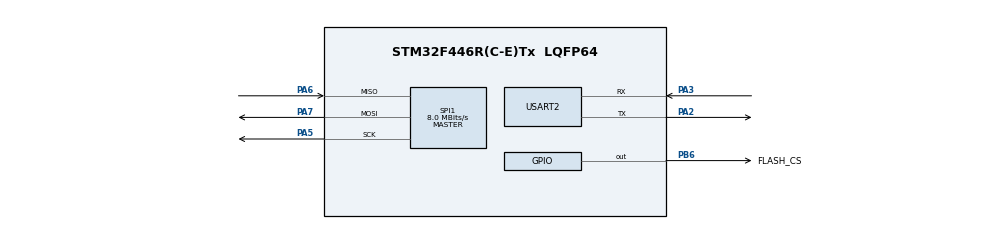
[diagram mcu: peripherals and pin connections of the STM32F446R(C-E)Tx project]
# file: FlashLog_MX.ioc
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FREERTOS.Tasks01=storageTask,24,512,StartStorageTask,Default,NULL,Dynamic,NULL,NULL;commandTask,24,512,StartCommandTask,Default,NULL,Dynamic,NULL,NULL
Mcu.Family=STM32F4
Mcu.Name=STM32F446R(C-E)Tx
Mcu.Package=LQFP64
NVIC.PriorityGroup=NVIC_PRIORITYGROUP_4
NVIC.TIM6_DAC_IRQn=true\:15\:0\:false\:false\:true\:false\:false\:true\:true
NVIC.TimeBase=TIM6_DAC_IRQn
NVIC.TimeBaseIP=TIM6
NVIC.USART2_IRQn=true\:5\:0\:false\:false\:true\:true\:true\:true\:true
PA2.Mode=Asynchronous
PA2.Signal=USART2_TX
PA3.Mode=Asynchronous
PA3.Signal=USART2_RX
PA5.Mode=Full_Duplex_Master
PA5.Signal=SPI1_SCK
PA6.Mode=Full_Duplex_Master
PA6.Signal=SPI1_MISO
PA7.Mode=Full_Duplex_Master
PA7.Signal=SPI1_MOSI
PB6.GPIO_Label=FLASH_CS
PB6.PinState=GPIO_PIN_SET
PB6.Signal=GPIO_Output
ProjectManager.HeapSize=0x200
ProjectManager.StackSize=0x400
ProjectManager.TargetToolchain=STM32CubeIDE
RCC.CortexFreq_Value=16000000
RCC.USBFreq_Value=96000000
RCC.VCOOutputFreq_Value=192000000
SPI1.BaudRatePrescaler=SPI_BAUDRATEPRESCALER_2
SPI1.CalculateBaudRate=8.0 MBits/s
SPI1.Direction=SPI_DIRECTION_2LINES
SPI1.Mode=SPI_MODE_MASTER
SPI1.VirtualType=VM_MASTER
USART2.VirtualMode=VM_ASYNC
VP_FREERTOS_VS_CMSIS_V2.Mode=CMSIS_V2
VP_SYS_VS_tim6.Mode=TIM6
board=NUCLEO-F446RE

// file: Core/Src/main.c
/* USER CODE BEGIN Header */
/**
  ******************************************************************************
  * @file           : main.c
  * @brief          : Main program body
  ******************************************************************************
  * @attention
  *
  * Copyright (c) 2026 STMicroelectronics.
  * All rights reserved.
  *
  * This software is licensed under terms that can be found in the LICENSE file
  * in the root directory of this software component.
  * If no LICENSE file comes with this software, it is provided AS-IS.
  *
  ******************************************************************************
  */
/* USER CODE END Header */
#include "main.h"
#include "cmsis_os.h"

/* USER CODE BEGIN Includes */
#include <stdio.h>
#include "flash.h"
#include "log_uart.h"
#include "storage.h"
#include "cmd.h"
#include "log.h"
#include "perf.h"
#include "wear.h"
/* USER CODE END Includes */

SPI_HandleTypeDef hspi1;

UART_HandleTypeDef huart2;

/* Definitions for storageTask */
osThreadId_t storageTaskHandle;
const osThreadAttr_t storageTask_attributes = {
  .name = "storageTask",
  .stack_size = 512 * 4,
  .priority = (osPriority_t) osPriorityNormal,
};
/* Definitions for commandTask */
osThreadId_t commandTaskHandle;
const osThreadAttr_t commandTask_attributes = {
  .name = "commandTask",
  .stack_size = 512 * 4,
  .priority = (osPriority_t) osPriorityNormal,
};

void SystemClock_Config(void);
static void MX_GPIO_Init(void);
static void MX_USART2_UART_Init(void);
static void MX_SPI1_Init(void);
void StartStorageTask(void *argument);
void StartCommandTask(void *argument);

int main(void)
{

  /* MCU Configuration--------------------------------------------------------*/

  /* Reset of all peripherals, Initializes the Flash interface and the Systick. */
  HAL_Init();

  /* Configure the system clock */
  SystemClock_Config();

  /* Initialize all configured peripherals */
  MX_GPIO_Init();
  MX_USART2_UART_Init();
  MX_SPI1_Init();
  /* USER CODE BEGIN 2 */
  perf_init();
  flash_init(&hspi1);
  wear_init();
  log_init();
  printf("FlashLog boot OK (build %s %s)\r\n", __DATE__, __TIME__);
  /* USER CODE END 2 */

  /* Init scheduler */
  osKernelInitialize();

  /* USER CODE BEGIN RTOS_MUTEX */
  uartMutexHandle = osMutexNew(NULL);
  if (uartMutexHandle == NULL) printf("mutex create FAILED\r\n");
  /* USER CODE END RTOS_MUTEX */

  /* USER CODE BEGIN RTOS_QUEUES */
  storageQueueHandle = osMessageQueueNew(4, sizeof(storage_req_t), NULL);
  if (storageQueueHandle == NULL) printf("queue create FAILED\r\n");
  uartRxQueueHandle = osMessageQueueNew(64, sizeof(uint8_t), NULL);
  if (uartRxQueueHandle == NULL) printf("rx queue FAILED\r\n");
  /* USER CODE END RTOS_QUEUES */

  /* Create the thread(s) */
  /* creation of storageTask */
  storageTaskHandle = osThreadNew(StartStorageTask, NULL, &storageTask_attributes);

  /* creation of commandTask */
  commandTaskHandle = osThreadNew(StartCommandTask, NULL, &commandTask_attributes);

  /* Start scheduler */
  osKernelStart();

  /* We should never get here as control is now taken by the scheduler */

  /* Infinite loop */
  while (1)
  {

    /* USER CODE BEGIN 3 */
	HAL_Delay(1000);                        // 等 1 秒
  }
  /* USER CODE END 3 */
}

void SystemClock_Config(void)
{
  RCC_OscInitTypeDef RCC_OscInitStruct = {0};
  RCC_ClkInitTypeDef RCC_ClkInitStruct = {0};

  /** Configure the main internal regulator output voltage
  */
  __HAL_RCC_PWR_CLK_ENABLE();
  __HAL_PWR_VOLTAGESCALING_CONFIG(PWR_REGULATOR_VOLTAGE_SCALE3);

  /** Initializes the RCC Oscillators according to the specified parameters
  * in the RCC_OscInitTypeDef structure.
  */
  RCC_OscInitStruct.OscillatorType = RCC_OSCILLATORTYPE_HSI;
  RCC_OscInitStruct.HSIState = RCC_HSI_ON;
  RCC_OscInitStruct.HSICalibrationValue = RCC_HSICALIBRATION_DEFAULT;
  RCC_OscInitStruct.PLL.PLLState = RCC_PLL_NONE;
  if (HAL_RCC_OscConfig(&RCC_OscInitStruct) != HAL_OK)
  {
    Error_Handler();
  }

  /** Initializes the CPU, AHB and APB buses clocks
  */
  RCC_ClkInitStruct.ClockType = RCC_CLOCKTYPE_HCLK|RCC_CLOCKTYPE_SYSCLK
                              |RCC_CLOCKTYPE_PCLK1|RCC_CLOCKTYPE_PCLK2;
  RCC_ClkInitStruct.SYSCLKSource = RCC_SYSCLKSOURCE_HSI;
  RCC_ClkInitStruct.AHBCLKDivider = RCC_SYSCLK_DIV1;
  RCC_ClkInitStruct.APB1CLKDivider = RCC_HCLK_DIV1;
  RCC_ClkInitStruct.APB2CLKDivider = RCC_HCLK_DIV1;

  if (HAL_RCC_ClockConfig(&RCC_ClkInitStruct, FLASH_LATENCY_0) != HAL_OK)
  {
    Error_Handler();
  }
}

static void MX_SPI1_Init(void)
{

  /* SPI1 parameter configuration*/
  hspi1.Instance = SPI1;
  hspi1.Init.Mode = SPI_MODE_MASTER;
  hspi1.Init.Direction = SPI_DIRECTION_2LINES;
  hspi1.Init.DataSize = SPI_DATASIZE_8BIT;
  hspi1.Init.CLKPolarity = SPI_POLARITY_LOW;
  hspi1.Init.CLKPhase = SPI_PHASE_1EDGE;
  hspi1.Init.NSS = SPI_NSS_SOFT;
  hspi1.Init.BaudRatePrescaler = SPI_BAUDRATEPRESCALER_2;
  hspi1.Init.FirstBit = SPI_FIRSTBIT_MSB;
  hspi1.Init.TIMode = SPI_TIMODE_DISABLE;
  hspi1.Init.CRCCalculation = SPI_CRCCALCULATION_DISABLE;
  hspi1.Init.CRCPolynomial = 10;
  if (HAL_SPI_Init(&hspi1) != HAL_OK)
  {
    Error_Handler();
  }

}

static void MX_USART2_UART_Init(void)
{

  huart2.Instance = USART2;
  huart2.Init.BaudRate = 115200;
  huart2.Init.WordLength = UART_WORDLENGTH_8B;
  huart2.Init.StopBits = UART_STOPBITS_1;
  huart2.Init.Parity = UART_PARITY_NONE;
  huart2.Init.Mode = UART_MODE_TX_RX;
  huart2.Init.HwFlowCtl = UART_HWCONTROL_NONE;
  huart2.Init.OverSampling = UART_OVERSAMPLING_16;
  if (HAL_UART_Init(&huart2) != HAL_OK)
  {
    Error_Handler();
  }

}

static void MX_GPIO_Init(void)
{
  GPIO_InitTypeDef GPIO_InitStruct = {0};

  /* GPIO Ports Clock Enable */
  __HAL_RCC_GPIOA_CLK_ENABLE();
  __HAL_RCC_GPIOB_CLK_ENABLE();

  /*Configure GPIO pin Output Level */
  HAL_GPIO_WritePin(FLASH_CS_GPIO_Port, FLASH_CS_Pin, GPIO_PIN_SET);

  /*Configure GPIO pin : FLASH_CS_Pin */
  GPIO_InitStruct.Pin = FLASH_CS_Pin;
  GPIO_InitStruct.Mode = GPIO_MODE_OUTPUT_PP;
  GPIO_InitStruct.Pull = GPIO_NOPULL;
  GPIO_InitStruct.Speed = GPIO_SPEED_FREQ_LOW;
  HAL_GPIO_Init(FLASH_CS_GPIO_Port, &GPIO_InitStruct);

}

void StartStorageTask(void *argument)
{
  /* USER CODE BEGIN 5 */
  storage_req_t req;
  uint8_t buf[64];
  int rc;                       /* result of request */

  /* Infinite loop */
  for(;;)
  {
	  if (osMessageQueueGet(storageQueueHandle, &req, NULL, osWaitForever) != osOK)
	    continue;

	  rc = 0;                     /* 預設成功 */

      switch (req.type)
      {
        case REQ_ID: {
          uint8_t id[3];
          flash_read_jedec_id(id);
          log_printf("[STOR] JEDEC ID: %02X %02X %02X\r\n", id[0], id[1], id[2]);
          break;
        }
        case REQ_ERASE:
          rc = flash_sector_erase(req.addr);
          log_printf("[STOR] erase @0x%06X: %s\r\n", (unsigned)req.addr,
        	         rc == FL_OK ? "OK" : "TIMEOUT");
          break;

        case REQ_WRITE:
          rc = flash_page_program(req.addr, req.data, req.len);
          log_printf("[STOR] write %u B @0x%06X: %s\r\n", req.len, (unsigned)req.addr,
        	         rc == FL_OK ? "OK" : "FAIL");
          break;

        case REQ_READ: {
          uint16_t n = (req.len > sizeof(buf)) ? sizeof(buf) : req.len;
          flash_read(req.addr, buf, n);
          dump_hex("[STOR] read", buf, n);
          break;
        }
        case REQ_LOG_WRITE:
          rc = log_append(req.data, req.len);
          log_printf("[STOR] log append %u B\r\n", req.len);
          break;

        case REQ_LOG_READ: {
          uint8_t  p[LOG_MAX_PAYLOAD + 1];
          uint16_t n = LOG_MAX_PAYLOAD;
          rc = log_read(req.addr, p, &n);
          if (rc == LOG_OK) {
            p[n] = '\0';
            log_printf("[STOR] rec %u: \"%s\"\r\n", (unsigned)req.addr, p);
          } else {
            log_printf("[STOR] rec %u not found\r\n", (unsigned)req.addr);
          }
          break;
        }

        case REQ_LOG_DUMP:   log_dump(req.addr, req.len);  break;
        case REQ_LOG_STATS:  log_stats(); break;
        case REQ_LOG_FORMAT:
          rc = log_format();
          log_printf("[STOR] format: %s\r\n", rc == LOG_OK ? "OK" : "FAIL");
          break;
        case REQ_LOG_CORRUPT:  rc = log_inject_corrupt();  break;
        case REQ_LOG_PARTIAL:  rc = log_inject_partial(req.data, req.len); break;
        case REQ_LOG_REMOUNT:  rc = log_init();  break;
        case REQ_LOG_WEAR: {
          wear_stats_t w;
          wear_get(&w);
          log_printf("[WEAR] total=%u min=%u max=%u spread=%u events=%u/%u\r\n",
                     (unsigned)w.total, (unsigned)w.min, (unsigned)w.max,
                     (unsigned)(w.max - w.min),
                     (unsigned)w.events_used, (unsigned)(FLASH_SECTOR_SIZE / 4));
          for (uint32_t i = 0; i < WEAR_MAX_SECTORS; i++)
            log_printf("  S%-2u : %u\r\n", (unsigned)i, (unsigned)w.count[i]);
          break;
        }
        case REQ_WEAR_RESET:  wear_reset();  break;
        case REQ_LOG_TORNHDR: rc = log_inject_torn_header(); break;
        case REQ_LOG_PADCUT:  rc = log_inject_pad_cut();     break;
        case REQ_LOG_FILL:    rc = log_fill(req.addr, req.len); break;
      }

      /* 統一的結束標記 */
      if (rc == 0) log_printf("OK\r\n");
      else         log_printf("ERR %d\r\n", -rc);   /* 錯誤碼是負的，轉成正數 */

      uart_puts_raw("FlashLog> ");
  }
  /* USER CODE END 5 */
}

void StartCommandTask(void *argument)
{
  /* USER CODE BEGIN StartCommandTask */
  char    line[64];
  int     len = 0;
  uint8_t ch;

  HAL_UART_Receive_IT(&huart2, (uint8_t *)&uart_rx_byte, 1);
  uart_puts_raw("\r\nFlashLog> ");

  for (;;)
  {
    if (osMessageQueueGet(uartRxQueueHandle, &ch, NULL, osWaitForever) != osOK)
      continue;

    if (ch == '\r' || ch == '\n') {
      uart_puts_raw("\r\n");
      if (len > 0) {
        line[len] = '\0';
        if (parse_and_dispatch(line) == 0) {
          log_printf("OK\r\n");              /* 本地處理完成，自己給結束標記 */
          uart_puts_raw("FlashLog> ");
        }
        len = 0;
      }
      else {
        uart_puts_raw("FlashLog> ");         /* 空行也要給提示字元 */
      }
      /* 提示字元不在這裡印，改由 storageTask 處理完後印 */
    }
    else if (ch == 0x08 || ch == 0x7F) {
      if (len > 0) {
    	  len--; uart_puts_raw("\b \b");
      }
    }
    else if (len < (int)sizeof(line) - 1) {
      line[len++] = (char)ch;
      uart_putc_raw((char)ch);        /* 即時 echo */
    }
  }
  /* USER CODE END StartCommandTask */
}

void HAL_TIM_PeriodElapsedCallback(TIM_HandleTypeDef *htim)
{
  if (htim->Instance == TIM6)
  {
    HAL_IncTick();
  }
}

void Error_Handler(void)
{
  __disable_irq();
  while (1)
  {
  }
}
